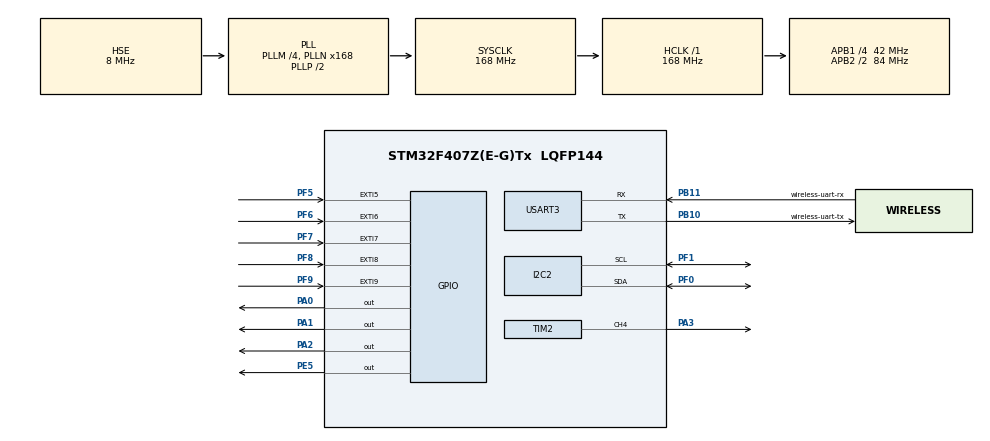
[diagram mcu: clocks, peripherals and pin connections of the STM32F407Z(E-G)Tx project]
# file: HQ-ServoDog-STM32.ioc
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I2C2.I2C_Mode=I2C_Fast
Mcu.Family=STM32F4
Mcu.Name=STM32F407Z(E-G)Tx
Mcu.Package=LQFP144
NVIC.EXTI9_5_IRQn=true\:5\:0\:true\:false\:true\:true\:true\:true
NVIC.PriorityGroup=NVIC_PRIORITYGROUP_4
PA0-WKUP.Signal=GPIO_Output
PA1.Signal=GPIO_Output
PA13.Mode=Serial_Wire
PA13.Signal=SYS_JTMS-SWDIO
PA14.Mode=Serial_Wire
PA14.Signal=SYS_JTCK-SWCLK
PA2.Signal=GPIO_Output
PA3.Signal=S_TIM2_CH4
PB10.GPIO_Label=wireless-uart-tx
PB10.Mode=Asynchronous
PB10.Signal=USART3_TX
PB11.GPIO_Label=wireless-uart-rx
PB11.Mode=Asynchronous
PB11.Signal=USART3_RX
PE5.Signal=GPIO_Output
PF0.GPIO_Pu=GPIO_PULLUP
PF0.Mode=I2C
PF0.Signal=I2C2_SDA
PF1.GPIO_Pu=GPIO_PULLUP
PF1.Mode=I2C
PF1.Signal=I2C2_SCL
PF5.GPIO_ModeDefaultEXTI=GPIO_MODE_IT_FALLING
PF5.GPIO_PuPd=GPIO_PULLUP
PF5.Signal=GPXTI5
PF6.GPIO_ModeDefaultEXTI=GPIO_MODE_IT_FALLING
PF6.GPIO_PuPd=GPIO_PULLUP
PF6.Signal=GPXTI6
PF7.GPIO_ModeDefaultEXTI=GPIO_MODE_IT_FALLING
PF7.GPIO_PuPd=GPIO_PULLUP
PF7.Signal=GPXTI7
PF8.GPIO_ModeDefaultEXTI=GPIO_MODE_IT_FALLING
PF8.GPIO_PuPd=GPIO_PULLUP
PF8.Signal=GPXTI8
PF9.GPIO_ModeDefaultEXTI=GPIO_MODE_IT_FALLING
PF9.GPIO_PuPd=GPIO_PULLUP
PF9.Signal=GPXTI9
PH0-OSC_IN.Mode=HSE-External-Oscillator
PH0-OSC_IN.Signal=RCC_OSC_IN
PH1-OSC_OUT.Mode=HSE-External-Oscillator
PH1-OSC_OUT.Signal=RCC_OSC_OUT
ProjectManager.HeapSize=0x1000
ProjectManager.StackSize=0x1000
ProjectManager.TargetToolchain=CMake
RCC.48MHZClocksFreq_Value=84000000
RCC.AHBFreq_Value=168000000
RCC.APB1CLKDivider=RCC_HCLK_DIV4
RCC.APB1Freq_Value=42000000
RCC.APB1TimFreq_Value=84000000
RCC.APB2CLKDivider=RCC_HCLK_DIV2
RCC.APB2Freq_Value=84000000
RCC.APB2TimFreq_Value=168000000
RCC.CortexFreq_Value=168000000
RCC.HCLKFreq_Value=168000000
RCC.HSE_VALUE=8000000
RCC.HSI_VALUE=16000000
RCC.LSE_VALUE=32768
RCC.PLLM=4
RCC.PLLN=168
RCC.PLLSourceVirtual=RCC_PLLSOURCE_HSE
RCC.SYSCLKFreq_VALUE=168000000
RCC.SYSCLKSource=RCC_SYSCLKSOURCE_PLLCLK
RCC.VCOOutputFreq_Value=336000000
SH.S_TIM2_CH4.0=TIM2_CH4,PWM Generation4 CH4
TIM2.Channel-PWM\ Generation4\ CH4=TIM_CHANNEL_4
TIM2.Prescaler=16800
USART3.VirtualMode=VM_ASYNC
VP_TIM2_VS_ClockSourceINT.Mode=Internal
board=custom

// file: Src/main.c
/* USER CODE BEGIN Header */
/**
  ******************************************************************************
  * @file           : main.c
  * @brief          : Main program body
  ******************************************************************************
  * @attention
  *
  * Copyright (c) 2025 STMicroelectronics.
  * All rights reserved.
  *
  * This software is licensed under terms that can be found in the LICENSE file
  * in the root directory of this software component.
  * If no LICENSE file comes with this software, it is provided AS-IS.
  *
  ******************************************************************************
  */
/* USER CODE END Header */
#include "main.h"

I2C_HandleTypeDef hi2c2;

TIM_HandleTypeDef htim2;

UART_HandleTypeDef huart3;

void SystemClock_Config(void);
static void MX_GPIO_Init(void);
static void MX_I2C2_Init(void);
static void MX_TIM2_Init(void);
static void MX_USART3_UART_Init(void);

/* USER CODE BEGIN 0 */

//!BSP
#include "beep.h"
#include "elog.h"
#include "key.h"
#include "quadruped.h"

#define TAG "main"

static quad_fp _swr;
static quad_fp _shr;
static quad_fp _swl;
static quad_fp _shl;

static uint32_t _ferame_count;
static quad_fp _cuf_off_percentage;
static uint32_t _cuf_off_index;

static quad_coord _base;
static quad_fcb _fcb;

void quad_turn_init(
  quad_fp swing_width_right , quad_fp swing_height,
  quad_fp swing_width_left, quad_fp swing_height_left,
  quad_fp cuf_off_percentage, quad_coord base,
  fcb_mode mode, uint32_t frame_count, uint32_t frame_interval)
{
  _swr                = swing_width_right;
  _shr                = swing_height;
  _swl                = swing_width_left;
  _shl                = swing_height_left;
  _cuf_off_percentage = cuf_off_percentage;
  _cuf_off_index      = (uint32_t)(_ferame_count*_cuf_off_percentage+0.5f);
  _cuf_off_index      = (_cuf_off_index > _ferame_count) ? _ferame_count : _cuf_off_index;
  _base.X             = base.X + swing_width_right / 2.f;
  _base.Z             = base.Z;
  _ferame_count       = frame_count;

  fcb_init(&_fcb, mode, frame_interval);
}

void quad_turn_left(uint32_t steps)
{

}

void quad_turn(uint32_t dir,  uint32_t steps)
{

}

void quad_key_handler2()
{
  key_value_t key1 = key_read_blocking();
  beep_play_note(1,3,100);
  key_value_t key2 = key_read_blocking();
  beep_play_note(1,3,100);
  switch(key1)
  {
    case KEY_UP:
      switch(key2)
      {
        case KEY_UP:
          elog_i(TAG, "KEY_UP + KEY_UP");
          quad_tort(10);
          break;
        default:
          break;
      }
      break;
    case KEY_DOWN:
      break;
    case KEY_LEFT:
      break;
    case KEY_RIGHT:
      break;
    case KEY_CENTER:
      switch(key2)
      {
        case KEY_UP:
          elog_i(TAG, "KEY_CENTER + KEY_UP");
          quad_fixed_stand0();
          break;
        case KEY_DOWN:
          elog_i(TAG, "KEY_CENTER + KEY_DOWN");
          quad_fixed_fall0();
          break;
        case KEY_LEFT:
          elog_i(TAG, "KEY_CENTER + KEY_LEFT");
          quad_sip(10);
          break;
        case KEY_RIGHT:
          elog_i(TAG, "KEY_CENTER + KEY_RIGHT");
          quad_sip3(10);
          break;
        case KEY_CENTER:
          elog_i(TAG, "KEY_CENTER + KEY_CENTER");
          quad_sip2(10,40);
          break;
        default:
          break;
      }
      break;
    default:
      break;
  }
}

/* USER CODE END 0 */

int main(void)
{

  /* MCU Configuration--------------------------------------------------------*/

  /* Reset of all peripherals, Initializes the Flash interface and the Systick. */
  HAL_Init();

  /* Configure the system clock */
  SystemClock_Config();

  /* Initialize all configured peripherals */
  MX_GPIO_Init();
  MX_I2C2_Init();
  MX_TIM2_Init();
  MX_USART3_UART_Init();
  /* USER CODE BEGIN 2 */
  elog_init_default();
  elog_set_filter_lvl(ELOG_LVL_INFO);
  // elog_set_filter_lvl(ELOG_LVL_VERBOSE);

  beep_init(&htim2,TIM_CHANNEL_4,168000000);
  beep_play_note(1,3,100);
  elog_i(TAG, "beep init success");

  key_init();
  elog_i(TAG, "key init success");

  quad_init();
  elog_i(TAG, "quad init success");

  quad_tort_init(30,30,0.5,cc_stand0,FCB_MODE_TICK,150,1);
  elog_i(TAG, "quad_tort_init success");

  quad_sip_init(30,0.5,cc_stand0,FCB_MODE_TICK,150,2);
  elog_i(TAG, "quad_sip_init success");

  // quad_fp angles0[8] = {0,0,0,0,0,0,0,0};
  // leg_sync_set_angle2(angles0, true);
  // HAL_Delay(1000);
  // quad_fp angles90[8] = {90,90,90,90,90,90,90,90};
  // leg_sync_set_angle2(angles90, true);
  // HAL_Delay(1000);
  // quad_fp angles180[8] = {180,180,180,180,180,180,180,180};
  // leg_sync_set_angle2(angles180, true);

  /* USER CODE END 2 */

  /* Infinite loop */
  /* USER CODE BEGIN WHILE */
  while (1)
  {
    quad_key_handler2();
    /* USER CODE END WHILE */

  }
}

void SystemClock_Config(void)
{
  RCC_OscInitTypeDef RCC_OscInitStruct = {0};
  RCC_ClkInitTypeDef RCC_ClkInitStruct = {0};

  /** Configure the main internal regulator output voltage
  */
  __HAL_RCC_PWR_CLK_ENABLE();
  __HAL_PWR_VOLTAGESCALING_CONFIG(PWR_REGULATOR_VOLTAGE_SCALE1);

  /** Initializes the RCC Oscillators according to the specified parameters
  * in the RCC_OscInitTypeDef structure.
  */
  RCC_OscInitStruct.OscillatorType = RCC_OSCILLATORTYPE_HSE;
  RCC_OscInitStruct.HSEState = RCC_HSE_ON;
  RCC_OscInitStruct.PLL.PLLState = RCC_PLL_ON;
  RCC_OscInitStruct.PLL.PLLSource = RCC_PLLSOURCE_HSE;
  RCC_OscInitStruct.PLL.PLLM = 4;
  RCC_OscInitStruct.PLL.PLLN = 168;
  RCC_OscInitStruct.PLL.PLLP = RCC_PLLP_DIV2;
  RCC_OscInitStruct.PLL.PLLQ = 4;
  if (HAL_RCC_OscConfig(&RCC_OscInitStruct) != HAL_OK)
  {
    Error_Handler();
  }

  /** Initializes the CPU, AHB and APB buses clocks
  */
  RCC_ClkInitStruct.ClockType = RCC_CLOCKTYPE_HCLK|RCC_CLOCKTYPE_SYSCLK
                              |RCC_CLOCKTYPE_PCLK1|RCC_CLOCKTYPE_PCLK2;
  RCC_ClkInitStruct.SYSCLKSource = RCC_SYSCLKSOURCE_PLLCLK;
  RCC_ClkInitStruct.AHBCLKDivider = RCC_SYSCLK_DIV1;
  RCC_ClkInitStruct.APB1CLKDivider = RCC_HCLK_DIV4;
  RCC_ClkInitStruct.APB2CLKDivider = RCC_HCLK_DIV2;

  if (HAL_RCC_ClockConfig(&RCC_ClkInitStruct, FLASH_LATENCY_5) != HAL_OK)
  {
    Error_Handler();
  }
}

static void MX_I2C2_Init(void)
{

  hi2c2.Instance = I2C2;
  hi2c2.Init.ClockSpeed = 400000;
  hi2c2.Init.DutyCycle = I2C_DUTYCYCLE_2;
  hi2c2.Init.OwnAddress1 = 0;
  hi2c2.Init.AddressingMode = I2C_ADDRESSINGMODE_7BIT;
  hi2c2.Init.DualAddressMode = I2C_DUALADDRESS_DISABLE;
  hi2c2.Init.OwnAddress2 = 0;
  hi2c2.Init.GeneralCallMode = I2C_GENERALCALL_DISABLE;
  hi2c2.Init.NoStretchMode = I2C_NOSTRETCH_DISABLE;
  if (HAL_I2C_Init(&hi2c2) != HAL_OK)
  {
    Error_Handler();
  }

}

static void MX_TIM2_Init(void)
{

  TIM_ClockConfigTypeDef sClockSourceConfig = {0};
  TIM_MasterConfigTypeDef sMasterConfig = {0};
  TIM_OC_InitTypeDef sConfigOC = {0};

  htim2.Instance = TIM2;
  htim2.Init.Prescaler = 16800;
  htim2.Init.CounterMode = TIM_COUNTERMODE_UP;
  htim2.Init.Period = 4294967295;
  htim2.Init.ClockDivision = TIM_CLOCKDIVISION_DIV1;
  htim2.Init.AutoReloadPreload = TIM_AUTORELOAD_PRELOAD_DISABLE;
  if (HAL_TIM_Base_Init(&htim2) != HAL_OK)
  {
    Error_Handler();
  }
  sClockSourceConfig.ClockSource = TIM_CLOCKSOURCE_INTERNAL;
  if (HAL_TIM_ConfigClockSource(&htim2, &sClockSourceConfig) != HAL_OK)
  {
    Error_Handler();
  }
  if (HAL_TIM_PWM_Init(&htim2) != HAL_OK)
  {
    Error_Handler();
  }
  sMasterConfig.MasterOutputTrigger = TIM_TRGO_RESET;
  sMasterConfig.MasterSlaveMode = TIM_MASTERSLAVEMODE_DISABLE;
  if (HAL_TIMEx_MasterConfigSynchronization(&htim2, &sMasterConfig) != HAL_OK)
  {
    Error_Handler();
  }
  sConfigOC.OCMode = TIM_OCMODE_PWM1;
  sConfigOC.Pulse = 0;
  sConfigOC.OCPolarity = TIM_OCPOLARITY_HIGH;
  sConfigOC.OCFastMode = TIM_OCFAST_DISABLE;
  if (HAL_TIM_PWM_ConfigChannel(&htim2, &sConfigOC, TIM_CHANNEL_4) != HAL_OK)
  {
    Error_Handler();
  }
  HAL_TIM_MspPostInit(&htim2);

}

static void MX_USART3_UART_Init(void)
{

  huart3.Instance = USART3;
  huart3.Init.BaudRate = 115200;
  huart3.Init.WordLength = UART_WORDLENGTH_8B;
  huart3.Init.StopBits = UART_STOPBITS_1;
  huart3.Init.Parity = UART_PARITY_NONE;
  huart3.Init.Mode = UART_MODE_TX_RX;
  huart3.Init.HwFlowCtl = UART_HWCONTROL_NONE;
  huart3.Init.OverSampling = UART_OVERSAMPLING_16;
  if (HAL_UART_Init(&huart3) != HAL_OK)
  {
    Error_Handler();
  }

}

static void MX_GPIO_Init(void)
{
  GPIO_InitTypeDef GPIO_InitStruct = {0};

  /* GPIO Ports Clock Enable */
  __HAL_RCC_GPIOE_CLK_ENABLE();
  __HAL_RCC_GPIOF_CLK_ENABLE();
  __HAL_RCC_GPIOH_CLK_ENABLE();
  __HAL_RCC_GPIOA_CLK_ENABLE();
  __HAL_RCC_GPIOB_CLK_ENABLE();

  /*Configure GPIO pin Output Level */
  HAL_GPIO_WritePin(GPIOE, GPIO_PIN_5, GPIO_PIN_RESET);

  /*Configure GPIO pin Output Level */
  HAL_GPIO_WritePin(GPIOA, GPIO_PIN_0|GPIO_PIN_1|GPIO_PIN_2, GPIO_PIN_RESET);

  /*Configure GPIO pin : PE5 */
  GPIO_InitStruct.Pin = GPIO_PIN_5;
  GPIO_InitStruct.Mode = GPIO_MODE_OUTPUT_PP;
  GPIO_InitStruct.Pull = GPIO_NOPULL;
  GPIO_InitStruct.Speed = GPIO_SPEED_FREQ_LOW;
  HAL_GPIO_Init(GPIOE, &GPIO_InitStruct);

  /*Configure GPIO pins : PF5 PF6 PF7 PF8
                           PF9 */
  GPIO_InitStruct.Pin = GPIO_PIN_5|GPIO_PIN_6|GPIO_PIN_7|GPIO_PIN_8
                          |GPIO_PIN_9;
  GPIO_InitStruct.Mode = GPIO_MODE_IT_FALLING;
  GPIO_InitStruct.Pull = GPIO_PULLUP;
  HAL_GPIO_Init(GPIOF, &GPIO_InitStruct);

  /*Configure GPIO pins : PA0 PA1 PA2 */
  GPIO_InitStruct.Pin = GPIO_PIN_0|GPIO_PIN_1|GPIO_PIN_2;
  GPIO_InitStruct.Mode = GPIO_MODE_OUTPUT_PP;
  GPIO_InitStruct.Pull = GPIO_NOPULL;
  GPIO_InitStruct.Speed = GPIO_SPEED_FREQ_LOW;
  HAL_GPIO_Init(GPIOA, &GPIO_InitStruct);

  /* EXTI interrupt init*/
  HAL_NVIC_SetPriority(EXTI9_5_IRQn, 5, 0);
  HAL_NVIC_EnableIRQ(EXTI9_5_IRQn);

}

void Error_Handler(void)
{
  __disable_irq();
  while (1)
  {
  }
}
